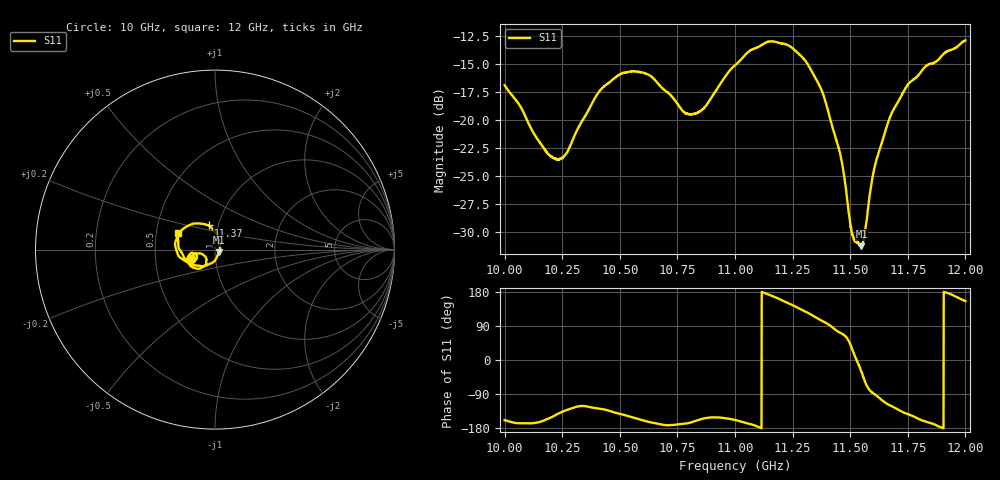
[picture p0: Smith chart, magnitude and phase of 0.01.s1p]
[Version] 2.0
! Rohde & Schwarz Vector Network Analyzer
! Rohde-Schwarz,ZNL20-2Port,1323001220200009,1.71.1.10-23.02.1.238
! Port Assignments:
! Nominal Port -> Actual Test Port
!  1 -> 1
! Created: GMT 2024-08-27 12:46:15
# Hz S DB R 50
[Number of Ports] 1
! freq[Hz]  S11[mag dB]  S11[ang]
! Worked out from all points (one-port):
!   2001 points, 10 GHz to 12 GHz, reference 50 ohm
!   lowest |S11| = -31.2 dB at 11.55 GHz (marker M1), VSWR 1.06, Z = 52.4 - j1.5 ohm
!   |S11| at or under -10 dB: start of sweep to end of sweep
!   S11 on the Smith chart (normalised r, x): 10 GHz: 0.76, -0.08; 11.37 GHz: 0.90, +0.25; 12 GHz: 0.65, +0.13
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[Number of Frequencies] 28
[Network Data]
1e10  -16.89 -158.8
1.0064e10  -18.63 -167.0
1.0181e10  -22.81 -156.9
1.025e10  -23.37 -136.7
1.0407e10  -17.53 -128.1
1.05e10  -15.92 -142.1
1.0626e10  -15.98 -163.4
1.075e10  -18.54 -170.1
1.0792e10  -19.41 -167.3
1.0849e10  -19.22 -156.6
1.1e10  -15.12 -158.2
1.1063e10  -13.83 -168.6
1.1143e10  -13.01 173.4
1.125e10  -13.58 144.6
1.1309e10  -14.80 126.7
1.1372e10  -17.14 105.0
1.1457e10  -23.07 71.7
1.1472e10  -24.81 66.7
1.15e10  -29.26 41.8
1.1517e10  -30.62 15.3
1.1549e10  -31.25 -31.6
1.1562e10  -30.28 -53.4
1.1593e10  -25.61 -85.0
1.1617e10  -23.34 -95.7
1.1676e10  -19.58 -120.6
1.175e10  -16.86 -142.7
1.1859e10  -14.92 -168.4
1.2e10  -12.89 155.4
[End]
